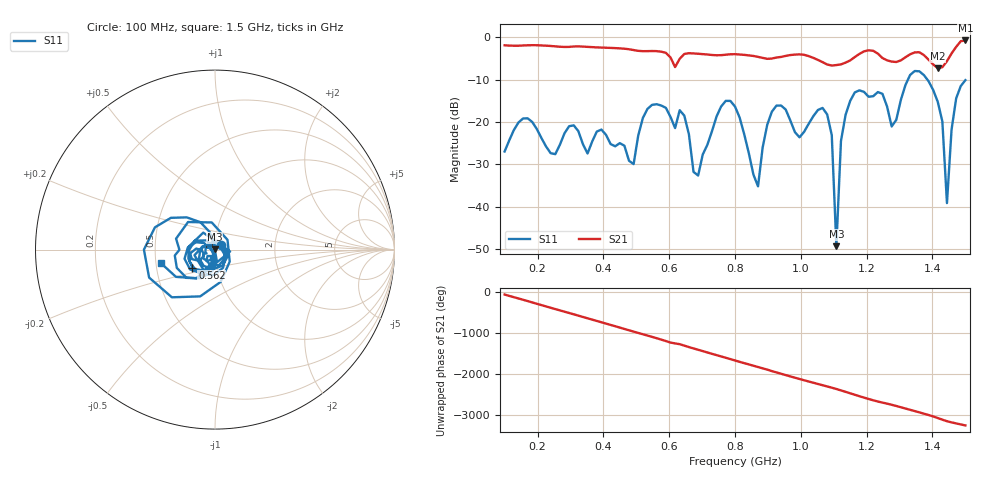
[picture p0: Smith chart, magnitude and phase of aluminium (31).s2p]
! NanoVNA-App
! Date: 2025-09-26 09:58:18
! Start: 100MHz Stop: 1,5GHz Points: 101
! S-Parameter data: F S11 S21 S12 S22
# Hz S RI R 50
!  Frequency  S11_Real  S11_Imag  S21_Real  S21_Imag  S12_Real  S12_Imag  S22_Real  S22_Imag
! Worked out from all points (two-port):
!   101 points, 100 MHz to 1.5 GHz, reference 50 ohm
!   highest |S21| = -0.78 dB at 1.5 GHz (marker M1); lowest = -7.3 dB at 1.416 GHz (marker M2)
!   |S21| within 3 dB of the highest: start of sweep to 591.1 MHz; 1.182 GHz to 1.232 GHz (49.76 MHz wide, 4.12 % of centre)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
!   lowest |S11| = -49.3 dB at 1.108 GHz (marker M3), VSWR 1.01, Z = 49.8 + j0.256 ohm
!   |S11| at or under -10 dB: start of sweep to 1.326 GHz; 1.384 GHz to end of sweep
!   S12 and S22 are empty: the file has one direction only
!   S11 on the Smith chart (normalised r, x): 100 MHz: 1.07, +0.06; 562 MHz: 0.76, -0.16; 1.5 GHz: 0.53, -0.09
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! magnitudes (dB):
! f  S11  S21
! 100 MHz  -27.0  -1.9
! 156 MHz  -19.2  -2.0
! 338 MHz  -25.2  -2.2
! 492 MHz  -29.9  -3.0
! 562 MHz  -15.8  -3.3
! 576 MHz  -16.1  -3.4
! 646 MHz  -18.5  -4.0
! 688 MHz  -32.6  -3.9
! 800 MHz  -16.4  -4.0
! 870 MHz  -35.2  -4.6
! 926 MHz  -16.1  -4.8
! 1.038 GHz  -18.6  -4.9
! 1.094 GHz  -23.1  -6.7
! 1.108 GHz  -49.3  -6.6
! 1.122 GHz  -24.5  -6.4
! 1.15 GHz  -15.0  -5.5
! 1.276 GHz  -21.1  -5.8
! 1.346 GHz  -8.0  -3.6
! 1.416 GHz  -15.2  -7.3
! 1.444 GHz  -39.1  -5.6
! 1.472 GHz  -14.4  -2.3
! 1.5 GHz  -10.1  -0.8
